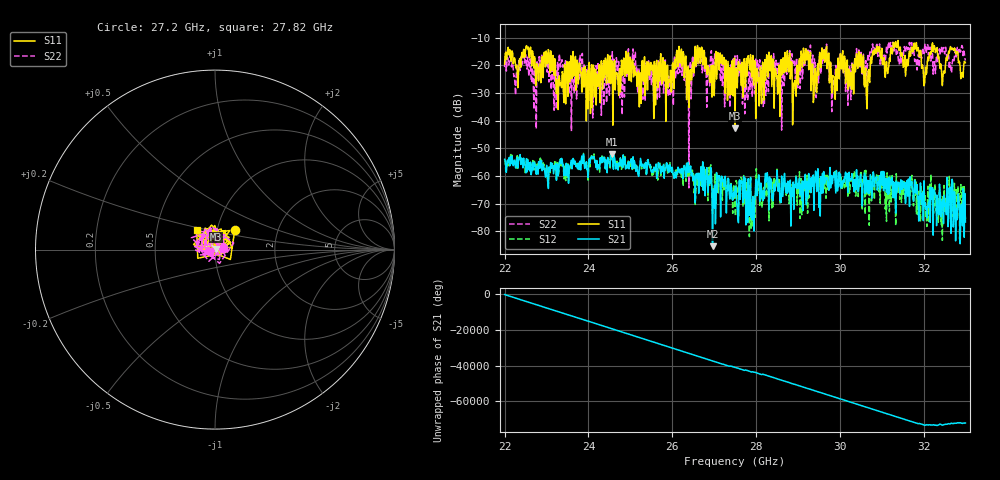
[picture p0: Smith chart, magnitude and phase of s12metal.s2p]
!Keysight Technologies,N5224B,MY57181201,A.12.70.07
!Date: Friday, July 15, 2022 16:11:47
!Correction: S11(Full 2 Port(1,2))
!S21(Full 2 Port(1,2))
!S12(Full 2 Port(1,2))
!S22(Full 2 Port(1,2))
!S2P File: Measurements: S11, S21, S12, S22:
# Hz S  dB  R 50
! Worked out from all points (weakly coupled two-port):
!   801 points, 22 GHz to 33 GHz, reference 50 ohm
!   highest |S21| = -52.06 dB at 24.57 GHz (marker M1); lowest = -85.3 dB at 26.96 GHz (marker M2)
!   lowest |S11| = -42.8 dB at 27.5 GHz (marker M3), VSWR 1.01, Z = 50.6 + j0.377 ohm
!   |S11| at or under -10 dB: start of sweep to end of sweep
!   |S22| runs from -64.3 to -11.6 dB; largest |S21 - S12| = 0.00089
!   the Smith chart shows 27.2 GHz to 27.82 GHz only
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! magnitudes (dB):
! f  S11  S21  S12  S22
! 22 GHz  -19.7  -54.0  -53.9  -20.7
! 23.84 GHz  -29.7  -52.8  -53.2  -16.5
! 24.1 GHz  -24.1  -53.5  -53.9  -39.0
! 24.57 GHz  -21.2  -52.1  -53.7  -15.1
! 25.67 GHz  -21.0  -55.1  -55.7  -17.9
! 26.21 GHz  -16.2  -58.5  -58.4  -17.2
! 26.4 GHz  -35.2  -57.3  -57.8  -64.3
! 26.66 GHz  -13.9  -59.0  -60.2  -19.2
! 26.96 GHz  -26.4  -85.3  -73.5  -17.8
! 27.14 GHz  -15.6  -60.9  -61.8  -22.9
! 27.5 GHz  -42.8  -64.4  -72.4  -16.6
! 28.2 GHz  -21.3  -68.1  -64.6  -34.1
! 28.38 GHz  -27.7  -68.0  -71.6  -17.8
! 28.61 GHz  -23.4  -60.0  -66.7  -43.4
! 28.93 GHz  -25.5  -64.3  -63.2  -21.6
! 29.19 GHz  -14.1  -66.2  -61.7  -14.1
! 29.34 GHz  -19.8  -63.7  -61.2  -18.3
! 29.63 GHz  -14.7  -60.4  -64.9  -14.3
! 29.85 GHz  -24.0  -60.4  -60.8  -27.2
! 30.22 GHz  -21.7  -58.6  -62.1  -23.5
! 31.17 GHz  -20.3  -60.5  -60.1  -11.6
! 33 GHz  -19.1  -76.6  -75.5  -18.3
